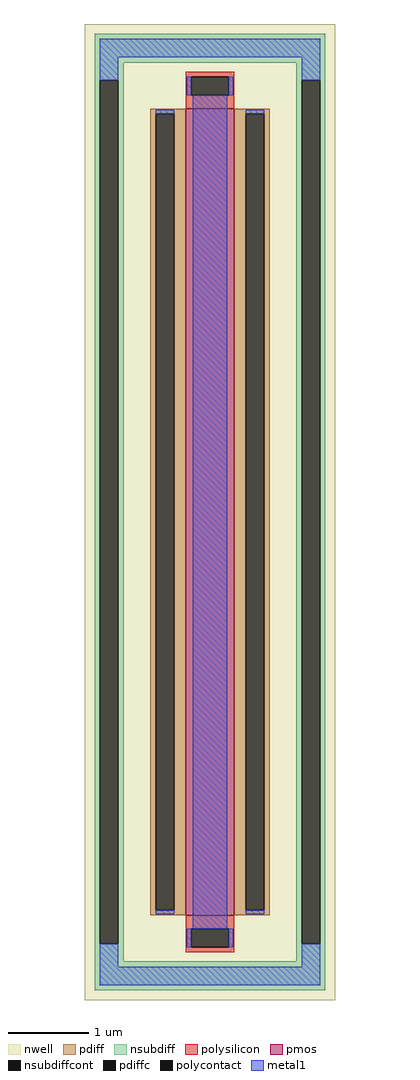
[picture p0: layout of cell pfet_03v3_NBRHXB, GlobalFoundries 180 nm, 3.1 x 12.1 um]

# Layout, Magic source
magic
tech gf180mcuD
magscale 1 10
<< nwell >>
rect -310 -1210 310 1210
<< pmos >>
rect -60 -1000 60 1000
<< pdiff >>
rect -148 987 -60 1000
rect -148 -987 -135 987
rect -89 -987 -60 987
rect -148 -1000 -60 -987
rect 60 987 148 1000
rect 60 -987 89 987
rect 135 -987 148 987
rect 60 -1000 148 -987
<< pdiffc >>
rect -135 -987 -89 987
rect 89 -987 135 987
<< nsubdiff >>
rect -286 1114 286 1186
rect -286 1070 -214 1114
rect -286 -1070 -273 1070
rect -227 -1070 -214 1070
rect 214 1070 286 1114
rect -286 -1114 -214 -1070
rect 214 -1070 227 1070
rect 273 -1070 286 1070
rect 214 -1114 286 -1070
rect -286 -1186 286 -1114
<< nsubdiffcont >>
rect -273 -1070 -227 1070
rect 227 -1070 273 1070
<< polysilicon >>
rect -60 1079 60 1092
rect -60 1033 -47 1079
rect 47 1033 60 1079
rect -60 1000 60 1033
rect -60 -1033 60 -1000
rect -60 -1079 -47 -1033
rect 47 -1079 60 -1033
rect -60 -1092 60 -1079
<< polycontact >>
rect -47 1033 47 1079
rect -47 -1079 47 -1033
<< metal1 >>
rect -273 1127 273 1173
rect -273 1070 -227 1127
rect -58 1033 -47 1079
rect 47 1033 58 1079
rect 227 1070 273 1127
rect -135 987 -89 998
rect -135 -998 -89 -987
rect -43 -1033 43 1033
rect 89 987 135 998
rect 89 -998 135 -987
rect -273 -1127 -227 -1070
rect -58 -1079 -47 -1033
rect 47 -1079 58 -1033
rect 227 -1127 273 -1070
rect -273 -1173 273 -1127
<< properties >>
string FIXED_BBOX -250 -1150 250 1150
string gencell pfet_03v3
string library gf180mcu
string parameters w 10.0 l 0.6 m 1 nf 1 diffcov 100 polycov 100 guard 1 glc 1 grc 1 gtc 0 gbc 0 tbcov 100 rlcov 100 topc 1 botc 1 poverlap 0 doverlap 1 lmin 0.28 wmin 0.22 class mosfet full_metal 1 compatible {pfet_03v3 pfet_05v0 pfet_06v0} ad {int((nf+1)/2) * W/nf * 0.18u} as {int((nf+2)/2) * W/nf * 0.18u} pd {2*int((nf+1)/2) * (W/nf + 0.18u)} ps {2*int((nf+2)/2) * (W/nf + 0.18u)} nrd {0.18u / W} nrs {0.18u / W} sa 0 sb 0 sd 0
<< end >>
